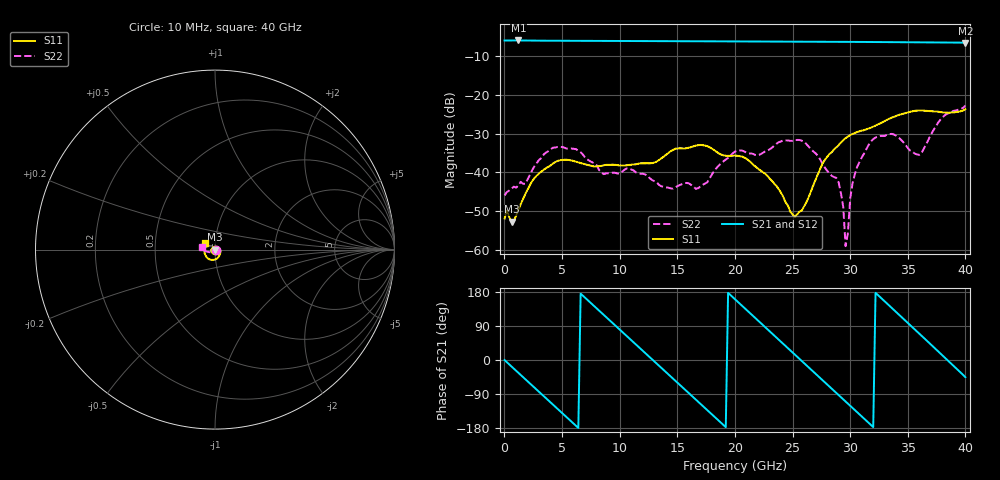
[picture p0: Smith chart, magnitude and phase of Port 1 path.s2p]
! RsaToolbox (C) 2015 Rohde & Schwarz America
! Number of points: 201
! Number of ports: 2
! Balanced ports?: No
# Hz S RI R 50
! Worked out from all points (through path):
!   201 points, 10 MHz to 40 GHz, reference 50 ohm
!   highest |S21| = -5.86 dB at 1.21 GHz (marker M1); lowest = -6.5 dB at 40 GHz (marker M2)
!   group delay of S21, straight-line fit = 78 ps
!   lowest |S11| = -52.7 dB at 609.9 MHz (marker M3), VSWR 1.00, Z = 49.8 - j0.0471 ohm
!   |S11| at or under -10 dB: start of sweep to end of sweep
!   |S22| runs from -59.1 to -22.7 dB; largest |S21 - S12| = 0
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1e7  -0.00248 0.000529  0.5087 -0.00211  0.5087 -0.00211  0.00465 -0.00197
6.0985e8  -0.00226 -0.000473  0.4859 -0.1505  0.4859 -0.1505  0.00587 -0.0019
1.2097e9  -0.00246 -0.00219  0.4221 -0.2848  0.4221 -0.2848  0.00383 -0.00565
3.80905e9  -0.0118 7.42e-05  -0.1451 -0.4845  -0.1451 -0.4845  -0.0181 -0.00542
6.8083e9  -0.00592 0.0115  -0.495 0.0913  -0.495 0.0913  -0.0155 0.00695
1.00075e10  0.00612 0.0107  0.0859 0.4936  0.0859 0.4936  0.00146 0.00958
1.340665e10  0.0124 -0.00737  0.4823 -0.1282  0.4823 -0.1282  -0.00234 0.0065
1.64059e10  -0.0144 -0.0164  -0.076 -0.4914  -0.076 -0.4914  -0.0061 0.00237
1.84054e10  -0.0183 0.0025  -0.4493 -0.2107  -0.4493 -0.2107  0.0046 0.0105
2.0005e10  -0.0103 0.0129  -0.4658 0.1665  -0.4658 0.1665  0.0157 0.01
2.260435e10  0.00645 0.00715  0.0217 0.4926  0.0217 0.4926  0.014 -0.0122
2.52037e10  0.00235 0.00122  0.4758 0.1226  0.4758 0.1226  -0.00128 -0.026
2.68033e10  0.00323 0.00605  0.4216 -0.2496  0.4216 -0.2496  -0.00832 -0.0167
2.900275e10  0.0215 0.00658  -0.0223 -0.4879  -0.0223 -0.4879  -0.0071 -0.00205
2.940265e10  0.026 0.00168  -0.1176 -0.4739  -0.1176 -0.4739  -0.00308 -0.00175
2.96026e10  0.0277 -0.000682  -0.1635 -0.4601  -0.1635 -0.4601  2.17e-05 -0.00111
3.00025e10  0.0298 -0.00552  -0.2499 -0.4193  -0.2499 -0.4193  0.00452 0.000735
3.060235e10  0.0309 -0.0125  -0.3601 -0.3285  -0.3601 -0.3285  0.0112 0.00345
3.340165e10  0.0133 -0.0478  -0.3893 0.2902  -0.3893 0.2902  0.0305 -0.00704
3.6001e10  -0.0397 -0.0493  0.168 0.4525  0.168 0.4525  -0.00262 -0.0167
3.80005e10  -0.0585 -0.0125  0.4694 0.1049  0.4694 0.1049  -0.0504 -0.0102
4e10  -0.0551 0.0361  0.3323 -0.3375  0.3323 -0.3375  -0.0717 0.0156
